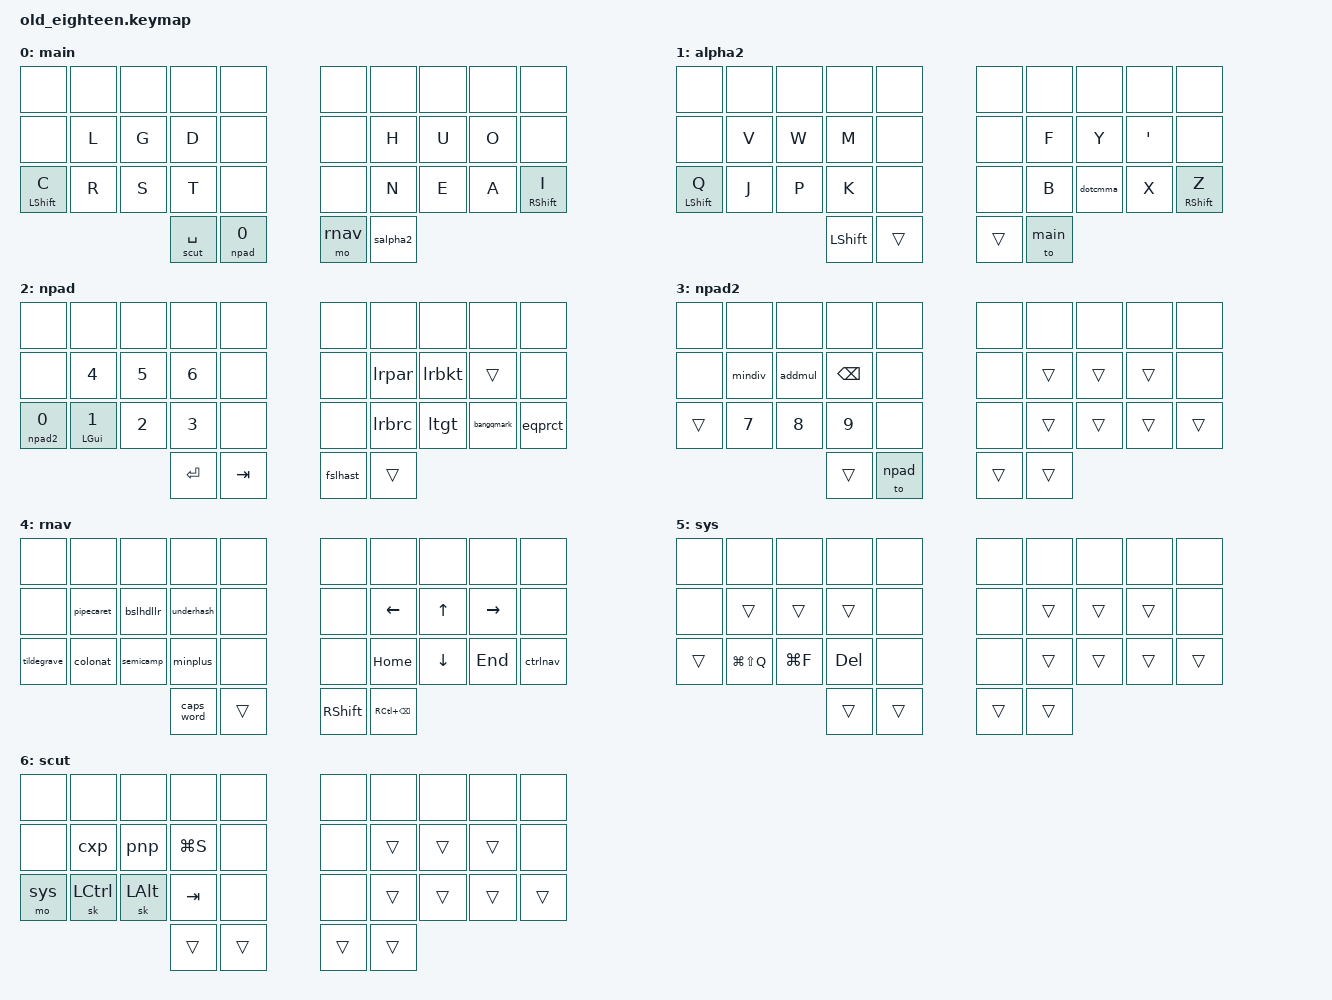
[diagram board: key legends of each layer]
/*
 * Copyright (c) 2020 The ZMK Contributors
 *
 * SPDX-License-Identifier: MIT
 *
 * Edited by DancyPancy
 *
 * Notes:
 * shorten time for alpha2 macro
 *
 */

#include <behaviors.dtsi>
#include <dt-bindings/zmk/keys.h>
#include <dt-bindings/zmk/bt.h>
#define main 0 
#define alpha2 1
#define npad 2
#define npad2 3
#define rnav 4
#define sys 5
#define scut 6

&mt {
	flavor = "balanced";
};

/ { 
    behaviors {
		// behaviors
		http: hold-tap-tap-preferred {
			compatible = "zmk,behavior-hold-tap";
			label = "HOLD_TAP_TAP_PREFERRED";
			flavor = "tap-preferred";
			#binding-cells = <2>;
			tapping-term-ms = <100>;
			bindings = <&kp>, <&kp>;
		};

		slnq: sticky_layer_no_quick_release {
			compatible = "zmk,behavior-sticky-key";
			label = "STICKY_KEY_QUICK_RELEASE";
			#binding-cells = <1>;
			bindings = <&mo>;
			release-after-ms = <800>;
			ignore-modifiers;
			quick-release;
		};

		reklt: repeat_key_layertap {
			compatible = "zmk,behavior-hold-tap";
			label = "REPEAT_KEY_LAYERTAP";
			#binding-cells = <2>;
			flavor = "hold-preferred";
			tapping-term-ms = <200>;
			bindings = <&mo>, <&key_repeat>;
		};

		// Tap Dances
    	cxp: copy_cut_paste {
            compatible = "zmk,behavior-tap-dance";
            label = "COPY_CUT_PASTE";
            #binding-cells = <0>;
            tapping-term-ms = <200>;
            bindings = <&http LC(X) LC(C)>, <&kp LC(V)>;
        };

		mindiv: minus_div {
            compatible = "zmk,behavior-tap-dance";
            label = "MINUS_PLUS";
            #binding-cells = <0>;
            tapping-term-ms = <200>;
            bindings = <&kp MINUS>, <&kp FSLH>;
        };

		addmul: add_multi {
			compatible = "zmk,behavior-tap-dance";
			label = "DIVIDE_MULTIPLY";
			#binding-cells = <0>;
			tapping-term-ms = <200>;
			bindings = <&kp PLUS>, <&kp ASTRK>;
		};

	  	pnp: play_next_previous {
            compatible = "zmk,behavior-tap-dance";
            label = "PLAY_NEXT_PREVIOUS";
            #binding-cells = <0>;
            tapping-term-ms = <200>;
            bindings = <&kp C_PP>, <&kp C_NEXT>, <&kp C_PREV>;
        };	

		// Mod Morphs
		lrpar: left_right_parentheses {
            compatible = "zmk,behavior-mod-morph";
            label = "LEFT_RIGHT_PARENTHESES";
            #binding-cells = <0>;
            bindings = <&kp LPAR>, <&kp RPAR>;
            mods = <(MOD_LSFT|MOD_RSFT)>;
        };

		lrbkt: left_right_brackets {
            compatible = "zmk,behavior-mod-morph";
            label = "LEFT_RIGHT_BRACKETS";
            #binding-cells = <0>;
            bindings = <&kp LBKT>, <&kp RBKT>;
            mods = <(MOD_LSFT|MOD_RSFT)>;
        };

		lrbrc: left_right_braces {
            compatible = "zmk,behavior-mod-morph";
            label = "LEFT_RIGHT_BRACES";
            #binding-cells = <0>;
            bindings = <&kp LBRC>, <&kp RBRC>;
            mods = <(MOD_LSFT|MOD_RSFT)>;
        };

		ltgt: less_than_greater_than {
            compatible = "zmk,behavior-mod-morph";
            label = "LESS_THAN_GREATER_THAN";
            #binding-cells = <0>;
            bindings = <&kp LT>, <&kp GT>;
            mods = <(MOD_LSFT|MOD_RSFT)>;
        };

		bangqmark: bang_questionmark {
            compatible = "zmk,behavior-mod-morph";
            label = "BANG_QUESTIONMARK";
            #binding-cells = <0>;
            bindings = <&kp EXCL>, <&kp QMARK>;
            mods = <(MOD_LSFT|MOD_RSFT)>;
        };

		eqprct: equal_percent {
            compatible = "zmk,behavior-mod-morph";
            label = "EQUAL_PERCENT";
            #binding-cells = <0>;
            bindings = <&kp EQUAL>, <&kp PERCENT>;
            mods = <(MOD_LSFT|MOD_RSFT)>;
        };

		minplus: minus_plus {
            compatible = "zmk,behavior-mod-morph";
            label = "MINUS_PLUS";
            #binding-cells = <0>;
            bindings = <&kp MINUS>, <&kp PLUS>;
            mods = <(MOD_LSFT|MOD_RSFT)>;
        };
		
		underhash: underscore_hash {
            compatible = "zmk,behavior-mod-morph";
            label = "UNDERSCORE_HASH";
            #binding-cells = <0>;
            bindings = <&kp UNDERSCORE>, <&kp HASH>;
            mods = <(MOD_LSFT|MOD_RSFT)>;
        };

		colonat: colon_atsign {
            compatible = "zmk,behavior-mod-morph";
            label = "COLON_ATSIGN";
            #binding-cells = <0>;
            bindings = <&kp COLON>, <&kp AT_SIGN>;
            mods = <(MOD_LSFT|MOD_RSFT)>;
        };

		semicamp: semicolon_ampersand {
            compatible = "zmk,behavior-mod-morph";
            label = "SEMICOLON_AMPERSAND";
            #binding-cells = <0>;
            bindings = <&kp SEMICOLON>, <&kp AMPERSAND>;
            mods = <(MOD_LSFT|MOD_RSFT)>;
        };

		fslhast: fslash_asterisk {
            compatible = "zmk,behavior-mod-morph";
            label = "FSLASH_ASTERISK";
            #binding-cells = <0>;
            bindings = <&kp FSLH>, <&kp ASTERISK>;
            mods = <(MOD_LSFT|MOD_RSFT)>;
        };

		bslhdllr: bslash_dollar {
            compatible = "zmk,behavior-mod-morph";
            label = "BSLASH_DOLLAR";
            #binding-cells = <0>;
            bindings = <&kp BACKSLASH>, <&kp DOLLAR>;
            mods = <(MOD_LSFT|MOD_RSFT)>;
        };

		dotcmma: dot_comma {
            compatible = "zmk,behavior-mod-morph";
            label = "DOT_COMMA";
            #binding-cells = <0>;
            bindings = <&kp DOT>, <&kp COMMA>;
            mods = <(MOD_LSFT|MOD_RSFT)>;
        };

		pipecaret: pipe_caret {
            compatible = "zmk,behavior-mod-morph";
            label = "PIPE_CARET";
            #binding-cells = <0>;
            bindings = <&kp PIPE>, <&kp CARET>;
            mods = <(MOD_LSFT|MOD_RSFT)>;
        };

		tildegrave: tilde_grave {
            compatible = "zmk,behavior-mod-morph";
            label = "TILDE_GRAVE";
            #binding-cells = <0>;
            bindings = <&kp TILDE>, <&kp GRAVE>;
            mods = <(MOD_LSFT|MOD_RSFT)>;
        };

    };

	macros {

		highline: highlight_line {
            label = "HIGHLIGHT_LINE";
            compatible = "zmk,behavior-macro";
            #binding-cells = <0>;
            bindings = 
				<&macro_tap &kp END>,
				<&macro_press &kp LSHIFT>,
				<&macro_tap &kp HOME>;
        };

		salpha2: sticky_alpha2 {
			label = "STICKY_ALPHA2";
			compatible = "zmk,behavior-macro";
			#binding-cells = <0>;
            bindings = 
				<&macro_tap &slnq alpha2>;
		};

		ctrlnav: ctrl_nav_layer {
            label = "CTRL_NAV_LAYER";
            compatible = "zmk,behavior-macro";
            #binding-cells = <0>;
            bindings = 
				<&macro_press &mo rnav &kp RCTRL>,
				<&macro_pause_for_release>,
				<&macro_release &mo rnav &kp RCTRL>;
        };

	};

    combos {
        compatible = "zmk,combos";

		escp {
			timeout-ms = <50>;
			key-positions = <11 12>;
			layers = <main>;
			bindings = <&kp ESCAPE>;
		};
		
		bkspc {
			timeout-ms = <25>;
			key-positions = <17 18>;
			bindings = <&kp BACKSPACE>;
		};

		ctrlbkspc {
			timeout-ms = <25>;
			key-positions = <16 17 18>;
			layers = <main>;
			bindings = <&kp RC(BACKSPACE)>;
		};

    };

	keymap {
		compatible = "zmk,keymap";
		//   ╭────────────────────╮ ╭────────────────────╮
        //   │  0   1   2   3   4 │ │  5   6   7   8   9 │
        //   │ 10  11  12  13  14 │ │ 15  16  17  18  19 │
        //   │ 20  21  22  23  24 | | 25  26  27  28  29 │
        //   ╰───────────╮ 30  31 │ │ 32  33 ╭───────────╯
        //               ╰────────╯ ╰────────╯     

		/*0*/
		main {
			bindings = <
			/* ╭──────────────╮╭──────────────╮╭──────────────╮╭──────────────╮╭──────────────╮	   ╭──────────────╮╭──────────────╮╭──────────────╮╭──────────────╮╭──────────────╮ */
			/* |			  ||			  ||			  ||			  ||			  |	   |			  ||			  ||			  ||			  ||			  | */
				&none			&none			&none			&none			&none				&none			&none			&none			&none			&none
			/* ╰──────────────╯╰──────────────╯╰──────────────╯╰──────────────╯╰──────────────╯	   ╰──────────────╯╰──────────────╯╰──────────────╯╰──────────────╯╰──────────────╯ */
			/* ╭──────────────╮╭──────────────╮╭──────────────╮╭──────────────╮╭──────────────╮	   ╭──────────────╮╭──────────────╮╭──────────────╮╭──────────────╮╭──────────────╮ */
			/* |			  ||			  ||			  ||			  ||			  |	   |			  ||			  ||			  ||			  ||			  | */
				&none			&kp L			&kp G			&kp D			&none				&none			&kp H			&kp U			&kp O			&none
			/* ╰──────────────╯╰──────────────╯╰──────────────╯╰──────────────╯╰──────────────╯	   ╰──────────────╯╰──────────────╯╰──────────────╯╰──────────────╯╰──────────────╯ */
			/* ╭──────────────╮╭──────────────╮╭──────────────╮╭──────────────╮╭──────────────╮	   ╭──────────────╮╭──────────────╮╭──────────────╮╭──────────────╮╭──────────────╮ */
			/* |			  ||			  ||			  ||			  ||			  |	   |			  ||			  ||			  ||			  ||			  | */
				&mt LSHFT C		&kp R 			&kp S			&kp T			&none				&none			&kp N			&kp E			&kp A			&mt RSHFT I
			/* ╰──────────────╯╰──────────────╯╰──────────────╯╰──────────────╯╰──────────────╯	   ╰──────────────╯╰──────────────╯╰──────────────╯╰──────────────╯╰──────────────╯ */
			/* 												   ╭──────────────╮╭──────────────╮	   ╭──────────────╮╭──────────────╮
			/* 												   |			  ||			  |	   |			  ||			  |													*/
																&lt scut SPACE	&reklt npad N0 		&mo rnav		&salpha2 
			/* 												   ╰──────────────╯╰──────────────╯	   ╰──────────────╯╰──────────────╯													*/
			>;
		};

		/*1*/
		alpha2 {
			bindings = <
			/* ╭──────────────╮╭──────────────╮╭──────────────╮╭──────────────╮╭──────────────╮	   ╭──────────────╮╭──────────────╮╭──────────────╮╭──────────────╮╭──────────────╮ */
			/* |			  ||			  ||			  ||			  ||			  |	   |			  ||			  ||			  ||			  ||			  | */
				&none			&none			&none			&none			&none				&none			&none			&none			&none			&none 
			/* ╰──────────────╯╰──────────────╯╰──────────────╯╰──────────────╯╰──────────────╯	   ╰──────────────╯╰──────────────╯╰──────────────╯╰──────────────╯╰──────────────╯ */
			/* ╭──────────────╮╭──────────────╮╭──────────────╮╭──────────────╮╭──────────────╮	   ╭──────────────╮╭──────────────╮╭──────────────╮╭──────────────╮╭──────────────╮ */
			/* |			  ||			  ||			  ||			  ||			  |	   |			  ||			  ||			  ||			  ||			  | */
				&none			&kp V			&kp W			&kp M			&none				&none			&kp F			&kp Y			&kp APOS		&none
			/* ╰──────────────╯╰──────────────╯╰──────────────╯╰──────────────╯╰──────────────╯	   ╰──────────────╯╰──────────────╯╰──────────────╯╰──────────────╯╰──────────────╯ */
			/* ╭──────────────╮╭──────────────╮╭──────────────╮╭──────────────╮╭──────────────╮	   ╭──────────────╮╭──────────────╮╭──────────────╮╭──────────────╮╭──────────────╮ */
			/* |			  ||			  ||			  ||			  ||			  |	   |			  ||			  ||			  ||			  ||			  | */
				&mt LSHFT Q		&kp J			&kp P			&kp K			&none				&none			&kp B			&dotcmma		&kp X			&mt RSHFT Z 
			/* ╰──────────────╯╰──────────────╯╰──────────────╯╰──────────────╯╰──────────────╯	   ╰──────────────╯╰──────────────╯╰──────────────╯╰──────────────╯╰──────────────╯ */
			/* 												   ╭──────────────╮╭──────────────╮	   ╭──────────────╮╭──────────────╮
			/* 												   |			  ||			  |	   |			  || layer		  |													*/
																&kp LSHFT		&trans				&trans			&to main
			/* 												   ╰──────────────╯╰──────────────╯	   ╰──────────────╯╰──────────────╯													*/
			>;
		};

		/*2*/
		npad {
			bindings = <
			/* ╭──────────────╮╭──────────────╮╭──────────────╮╭──────────────╮╭──────────────╮	   ╭──────────────╮╭──────────────╮╭──────────────╮╭──────────────╮╭──────────────╮ */
			/* |			  ||			  ||			  ||			  ||			  |	   |			  ||			  ||			  ||			  ||			  | */
				&none			&none			&none			&none			&none				&none			&none			&none			&none			&none
			/* ╰──────────────╯╰──────────────╯╰──────────────╯╰──────────────╯╰──────────────╯	   ╰──────────────╯╰──────────────╯╰──────────────╯╰──────────────╯╰──────────────╯ */
			/* ╭──────────────╮╭──────────────╮╭──────────────╮╭──────────────╮╭──────────────╮	   ╭──────────────╮╭──────────────╮╭──────────────╮╭──────────────╮╭──────────────╮ */
			/* |			  ||			  ||			  ||			  ||			  |	   |			  ||			  ||			  ||			  ||			  | */
				&none			&kp N4			&kp N5			&kp N6			&none				&none			&lrpar			&lrbkt			&trans			&none
			/* ╰──────────────╯╰──────────────╯╰──────────────╯╰──────────────╯╰──────────────╯	   ╰──────────────╯╰──────────────╯╰──────────────╯╰──────────────╯╰──────────────╯ */
			/* ╭──────────────╮╭──────────────╮╭──────────────╮╭──────────────╮╭──────────────╮	   ╭──────────────╮╭──────────────╮╭──────────────╮╭──────────────╮╭──────────────╮ */
			/* |			  ||			  ||			  ||			  ||			  |	   |			  ||			  ||			  ||			  ||			  | */
				&lt npad2 N0	&mt LGUI N1		&kp N2			&kp N3			&none				&none			&lrbrc			&ltgt			&bangqmark		&eqprct
			/* ╰──────────────╯╰──────────────╯╰──────────────╯╰──────────────╯╰──────────────╯	   ╰──────────────╯╰──────────────╯╰──────────────╯╰──────────────╯╰──────────────╯ */
			/* 												   ╭──────────────╮╭──────────────╮	   ╭──────────────╮╭──────────────╮
			/* 												   |			  || layer	 	  |	   |			  ||			  |													*/
																&kp ENTER		&kp TAB				&fslhast		&trans
			/* 												   ╰──────────────╯╰──────────────╯	   ╰──────────────╯╰──────────────╯													*/
			>;
		};

		/*3*/
		npad2 {
			bindings = <
			/* ╭──────────────╮╭──────────────╮╭──────────────╮╭──────────────╮╭──────────────╮	   ╭──────────────╮╭──────────────╮╭──────────────╮╭──────────────╮╭──────────────╮ */
			/* |			  ||			  ||			  ||			  ||			  |	   |			  ||			  ||			  ||			  ||			  | */
				&none			&none			&none			&none			&none				&none			&none			&none			&none			&none 
			/* ╰──────────────╯╰──────────────╯╰──────────────╯╰──────────────╯╰──────────────╯	   ╰──────────────╯╰──────────────╯╰──────────────╯╰──────────────╯╰──────────────╯ */
			/* ╭──────────────╮╭──────────────╮╭──────────────╮╭──────────────╮╭──────────────╮	   ╭──────────────╮╭──────────────╮╭──────────────╮╭──────────────╮╭──────────────╮ */
			/* |			  ||			  ||			  ||			  ||			  |	   |			  ||			  ||			  ||			  ||			  | */
				&none			&mindiv			&addmul			&kp BSPC		&none				&none			&trans			&trans			&trans			&none
			/* ╰──────────────╯╰──────────────╯╰──────────────╯╰──────────────╯╰──────────────╯	   ╰──────────────╯╰──────────────╯╰──────────────╯╰──────────────╯╰──────────────╯ */
			/* ╭──────────────╮╭──────────────╮╭──────────────╮╭──────────────╮╭──────────────╮	   ╭──────────────╮╭──────────────╮╭──────────────╮╭──────────────╮╭──────────────╮ */
			/* | layer		  ||			  ||			  ||			  ||			  |	   |			  ||			  ||			  ||			  ||			  | */
				&trans			&kp N7			&kp N8			&kp N9			&none				&none			&trans			&trans			&trans			&trans
			/* ╰──────────────╯╰──────────────╯╰──────────────╯╰──────────────╯╰──────────────╯	   ╰──────────────╯╰──────────────╯╰──────────────╯╰──────────────╯╰──────────────╯ */
			/* 												   ╭──────────────╮╭──────────────╮	   ╭──────────────╮╭──────────────╮
			/* 												   |			  ||			  |	   |			  ||			  |													*/
																&trans			&to npad			&trans			&trans
			/* 								 				   ╰──────────────╯╰──────────────╯	   ╰──────────────╯╰──────────────╯													*/
			>;
		};

		/*4*/
		rnav {
			bindings = <
			/* ╭──────────────╮╭──────────────╮╭──────────────╮╭──────────────╮╭──────────────╮	   ╭──────────────╮╭──────────────╮╭──────────────╮╭──────────────╮╭──────────────╮ */
			/* |			  ||			  ||			  ||			  ||			  |	   |			  ||			  ||			  ||			  ||			  | */
				&none			&none			&none			&none			&none				&none			&none			&none			&none			&none 
			/* ╰──────────────╯╰──────────────╯╰──────────────╯╰──────────────╯╰──────────────╯	   ╰──────────────╯╰──────────────╯╰──────────────╯╰──────────────╯╰──────────────╯ */
			/* ╭──────────────╮╭──────────────╮╭──────────────╮╭──────────────╮╭──────────────╮	   ╭──────────────╮╭──────────────╮╭──────────────╮╭──────────────╮╭──────────────╮ */
			/* |			  ||			  ||			  ||			  ||			  |	   |			  ||			  ||			  ||			  ||			  | */
				&none			&pipecaret		&bslhdllr		&underhash		&none				&none			&kp LEFT		&kp UP			&kp RIGHT		&none
			/* ╰──────────────╯╰──────────────╯╰──────────────╯╰──────────────╯╰──────────────╯	   ╰──────────────╯╰──────────────╯╰──────────────╯╰──────────────╯╰──────────────╯ */
			/* ╭──────────────╮╭──────────────╮╭──────────────╮╭──────────────╮╭──────────────╮	   ╭──────────────╮╭──────────────╮╭──────────────╮╭──────────────╮╭──────────────╮ */
			/* |			  ||			  ||			  ||			  ||			  |	   |			  ||			  ||			  ||			  ||			  | */
				&tildegrave		&colonat		&semicamp		&minplus		&none				&none			&kp HOME		&kp DOWN		&kp END			&ctrlnav
			/* ╰──────────────╯╰──────────────╯╰──────────────╯╰──────────────╯╰──────────────╯	   ╰──────────────╯╰──────────────╯╰──────────────╯╰──────────────╯╰──────────────╯ */
			/* 												   ╭──────────────╮╭──────────────╮	   ╭──────────────╮╭──────────────╮
			/* 												   |			  ||			  |	   | layer		  ||			  |													*/
																&caps_word	 	&trans				&kp RSHIFT		&kp RC(BSPC) 
			/* 												   ╰──────────────╯╰──────────────╯	   ╰──────────────╯╰──────────────╯													*/
			>;
		};

		/*5*/
		sys {
			bindings = <
			/* ╭──────────────╮╭──────────────╮╭──────────────╮╭──────────────╮╭──────────────╮	   ╭──────────────╮╭──────────────╮╭──────────────╮╭──────────────╮╭──────────────╮ */
			/* |			  ||			  ||			  ||			  ||			  |	   |			  ||			  ||			  ||			  ||			  | */
				&none			&none			&none			&none			&none				&none			&none			&none			&none			&none
			/* ╰──────────────╯╰──────────────╯╰──────────────╯╰──────────────╯╰──────────────╯	   ╰──────────────╯╰──────────────╯╰──────────────╯╰──────────────╯╰──────────────╯ */
			/* ╭──────────────╮╭──────────────╮╭──────────────╮╭──────────────╮╭──────────────╮	   ╭──────────────╮╭──────────────╮╭──────────────╮╭──────────────╮╭──────────────╮ */
			/* |			  ||			  ||			  ||			  ||			  |	   |			  ||			  ||			  ||			  ||			  | */
				&none			&trans			&trans			&trans			&none				&none			&trans			&trans			&trans			&none
			/* ╰──────────────╯╰──────────────╯╰──────────────╯╰──────────────╯╰──────────────╯	   ╰──────────────╯╰──────────────╯╰──────────────╯╰──────────────╯╰──────────────╯ */
			/* ╭──────────────╮╭──────────────╮╭──────────────╮╭──────────────╮╭──────────────╮	   ╭──────────────╮╭──────────────╮╭──────────────╮╭──────────────╮╭──────────────╮ */
			/* | layer		  ||			  ||			  ||			  ||			  |	   |			  ||			  ||			  ||			  ||			  | */
				&trans			&kp LG(LS(Q))	&kp LG(F)		&kp DEL			&none				&none			&trans			&trans			&trans			&trans
			/* ╰──────────────╯╰──────────────╯╰──────────────╯╰──────────────╯╰──────────────╯	   ╰──────────────╯╰──────────────╯╰──────────────╯╰──────────────╯╰──────────────╯ */
			/* 												   ╭──────────────╮╭──────────────╮	   ╭──────────────╮╭──────────────╮
			/* 												   |			  ||			  |	   |			  ||			  |													*/
																&trans			&trans				&trans			&trans
			/* 												   ╰──────────────╯╰──────────────╯	   ╰──────────────╯╰──────────────╯													*/
			>;
		};

		/*6*/
		scut {
			bindings = <
			/* ╭──────────────╮╭──────────────╮╭──────────────╮╭──────────────╮╭──────────────╮	   ╭──────────────╮╭──────────────╮╭──────────────╮╭──────────────╮╭──────────────╮ */
			/* |			  ||			  ||			  ||			  ||			  |	   |			  ||			  ||			  ||			  ||			  | */
				&none			&none			&none			&none			&none				&none			&none			&none			&none			&none
			/* ╰──────────────╯╰──────────────╯╰──────────────╯╰──────────────╯╰──────────────╯	   ╰──────────────╯╰──────────────╯╰──────────────╯╰──────────────╯╰──────────────╯ */
			/* ╭──────────────╮╭──────────────╮╭──────────────╮╭──────────────╮╭──────────────╮	   ╭──────────────╮╭──────────────╮╭──────────────╮╭──────────────╮╭──────────────╮ */
			/* |			  ||			  ||			  ||			  ||			  |	   |			  ||			  ||			  ||			  ||			  | */
				&none			&cxp			&pnp			&kp LG(S)		&none				&none			&trans			&trans			&trans			&none
			/* ╰──────────────╯╰──────────────╯╰──────────────╯╰──────────────╯╰──────────────╯	   ╰──────────────╯╰──────────────╯╰──────────────╯╰──────────────╯╰──────────────╯ */
			/* ╭──────────────╮╭──────────────╮╭──────────────╮╭──────────────╮╭──────────────╮	   ╭──────────────╮╭──────────────╮╭──────────────╮╭──────────────╮╭──────────────╮ */
			/* |			  ||			  ||			  ||			  ||			  |	   |			  ||			  ||			  ||			  ||			  | */
				&mo sys			&sk LCTRL		&sk LALT		&kp TAB			&none				&none			&trans			&trans			&trans			&trans
			/* ╰──────────────╯╰──────────────╯╰──────────────╯╰──────────────╯╰──────────────╯	   ╰──────────────╯╰──────────────╯╰──────────────╯╰──────────────╯╰──────────────╯ */
			/* 												   ╭──────────────╮╭──────────────╮	   ╭──────────────╮╭──────────────╮
			/* 												   | layer		  ||			  |	   |			  ||			  |													*/
																&trans			&trans				&trans			&trans
			/* 												   ╰──────────────╯╰──────────────╯	   ╰──────────────╯╰──────────────╯													*/
			>;
		};
	};
};  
